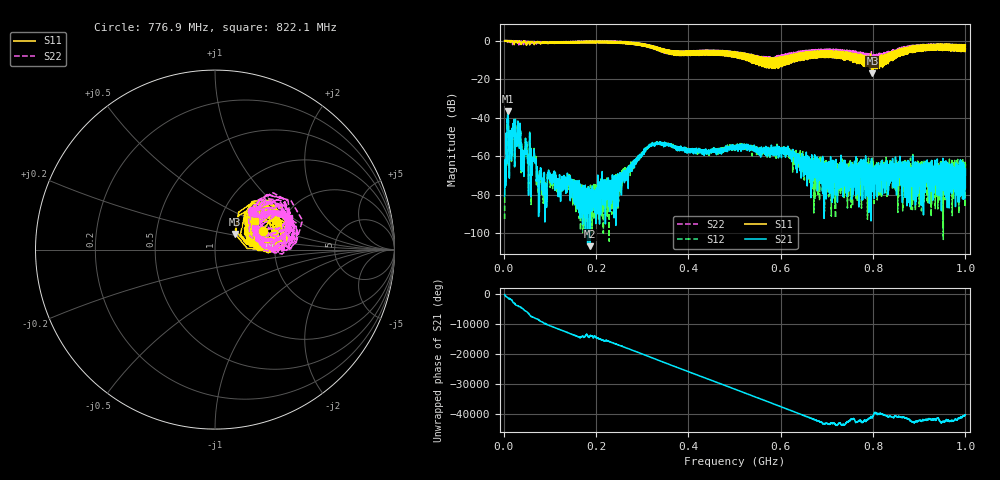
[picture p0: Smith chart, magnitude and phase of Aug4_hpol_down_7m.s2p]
!Keysight Technologies N9923A: A.12.45
!Date: Tuesday, 05 August 2025 18:04:46
!Timezone: (UTC+08:00) Kuala Lumpur, Singapore
!Model: N9923A
!Serial: MY61181427
!GPS Latitude:
!GPS Longitude:
!GPS TimeStamp: 0001-01-01 00:00:00Z
!GPS Seconds Since Last Read: 0
!CHECKSUM:0739868459
!Correction: S11(ON U)S21(ON U)S12(ON U)S22(ON U)
!S2P File: Measurements:S11,S21,S12,S22:
# Hz S DB R 50
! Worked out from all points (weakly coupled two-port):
!   4001 points, 2 MHz to 1 GHz, reference 50 ohm
!   highest |S21| = -36.71 dB at 8.736 MHz (marker M1); lowest = -106.8 dB at 186.9 MHz (marker M2)
!   lowest |S11| = -16.9 dB at 798.7 MHz (marker M3), VSWR 1.33, Z = 61.6 + j11 ohm
!   |S11| at or under -10 dB: 573.993 MHz to 575.1448 MHz (1.152 MHz wide, 0.2 % of centre); 580.7527 MHz to 581.9111 MHz (1.158 MHz wide, 0.199 % of centre); 587.526 MHz to 588.6409 MHz (1.115 MHz wide, 0.19 % of centre)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
!   |S22| runs from -13.7 to 0.1 dB; largest |S21 - S12| = 0.0013
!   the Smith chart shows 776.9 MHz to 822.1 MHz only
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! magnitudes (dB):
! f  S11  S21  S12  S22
! 2 MHz  -0.1  -80.9  -92.7  -0.1
! 8.736 MHz  -0.2  -36.7  -36.7  -0.9
! 22.21 MHz  -0.7  -41.0  -41.2  -0.4
! 34.19 MHz  -0.7  -55.7  -56.2  -0.9
! 41.67 MHz  -0.3  -61.6  -61.3  -0.7
! 65.37 MHz  -1.3  -58.4  -57.9  -0.4
! 75.6 MHz  -0.7  -91.4  -79.2  -0.7
! 89.08 MHz  -0.8  -78.8  -87.0  -0.8
! 99.31 MHz  -1.1  -72.0  -72.3  -0.9
! 168.4 MHz  -1.2  -82.4  -83.1  -0.9
! 186.9 MHz  -1.1  -106.8  -82.5  -0.9
! 250.5 MHz  -1.3  -73.0  -69.1  -0.9
! 334.8 MHz  -4.3  -53.5  -53.9  -4.9
! 501 MHz  -6.5  -54.8  -57.1  -7.3
! 611.3 MHz  -9.4  -55.9  -57.7  -7.0
! 667.4 MHz  -8.6  -59.3  -64.3  -7.6
! 798.7 MHz  -16.9  -65.5  -61.0  -8.6
! 833.8 MHz  -8.7  -67.8  -68.4  -5.6
! 960.1 MHz  -3.6  -69.9  -74.9  -1.9
! 979.3 MHz  -3.7  -73.7  -65.1  -4.7
! 990.3 MHz  -3.3  -80.5  -71.0  -2.5
! 1 GHz  -2.2  -66.8  -64.0  -4.0
